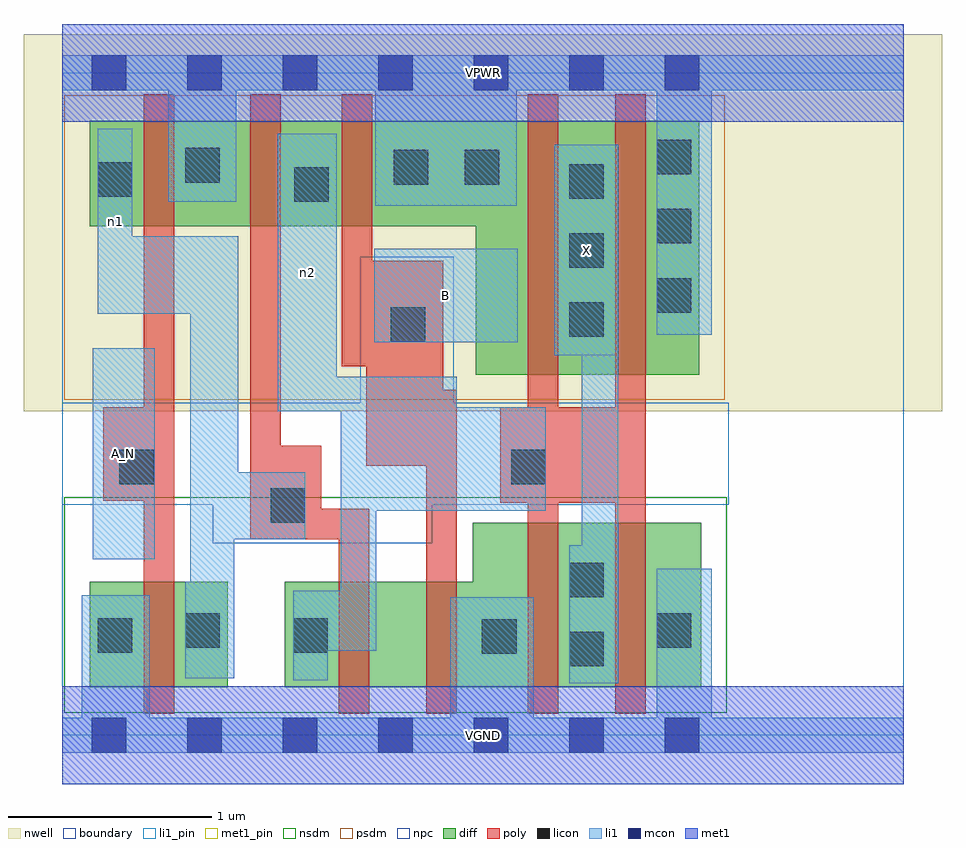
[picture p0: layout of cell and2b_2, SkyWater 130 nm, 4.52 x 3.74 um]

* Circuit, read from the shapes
.subckt and2b_2 A_N B VGND VPWR X n1 n2
XM1 n1 A_N VGND VSUBS sky130_fd_pr__nfet_01v8 w=0.52 l=0.15
XM2 n3 n1 n2 VSUBS sky130_fd_pr__nfet_01v8 w=0.52 l=0.15
XM3 VGND B n3 VSUBS sky130_fd_pr__nfet_01v8 w=0.52 l=0.15
XM4 X n2 VGND VSUBS sky130_fd_pr__nfet_01v8 w=0.81 l=0.15 m=2
XM5 VPWR A_N n1 n4 sky130_fd_pr__pfet_01v8 w=0.52 l=0.15
XM6 n2 n1 VPWR n4 sky130_fd_pr__pfet_01v8 w=0.52 l=0.15
XM7 VPWR B n2 n4 sky130_fd_pr__pfet_01v8 w=0.52 l=0.15
XM8 X n2 VPWR n4 sky130_fd_pr__pfet_01v8 w=1.25 l=0.15 m=2
.ends

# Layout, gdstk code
import gdstk
lib = gdstk.Library(unit=1e-6, precision=1e-09)
def R(c, l, rs):  # rectangles x0, y0, x1, y1
    for r in rs: c.add(gdstk.rectangle(r[:2], r[2:], *l))
def A(c, l, x, y, w, h, nx, ny, dx, dy):  # array of equal rectangles
    R(c, l, [(x+i*dx, y+j*dy, x+i*dx+w, y+j*dy+h) for i in range(nx) for j in range(ny)])
nwell = (64, 20)
diff = (65, 20)
poly = (66, 20)
licon = (66, 44)
li1_pin = (67, 16)
li1 = (67, 20)
mcon = (67, 44)
met1_pin = (68, 16)
met1 = (68, 20)
nsdm = (93, 44)
psdm = (94, 20)
npc = (95, 20)
boundary = (235, 4)

and2b_2 = lib.new_cell('and2b_2')
R(and2b_2, nwell, [(-0.19,1.595,4.33,3.45), (0,1.595,4.14,3.45)])
R(and2b_2, diff, [(0.135,0.235,0.815,0.755), (1.095,0.235,3.145,0.755), (2.02,0.235,3.145,1.045), (2.035,1.775,3.135,3.025), (0.135,2.505,3.135,3.025)])
R(and2b_2, poly, [(0.4,0.105,0.55,3.155), (1.36,0.105,1.51,1.115), (1.79,0.105,1.94,1.7), (2.29,0.105,2.44,3.155), (2.72,0.105,2.87,3.155), (0.925,0.965,1.275,1.425), (0.925,0.965,1.075,3.155), (0.925,0.965,1.51,1.115), (2.155,1.145,2.87,1.615), (0.2,1.155,0.55,1.615), (1.495,1.325,1.875,2.335), (1.375,1.815,1.525,3.155)])
A(and2b_2, licon, 2.495, 1.96, 0.17, 0.17, 1, 3, 0, 0.34)
A(and2b_2, licon, 2.925, 2.08, 0.17, 0.17, 1, 3, 0, 0.34)
R(and2b_2, licon, [(2.495,0.34,2.665,0.51), (2.065,0.4,2.235,0.57), (0.175,0.405,0.345,0.575), (1.135,0.405,1.305,0.575), (0.605,0.43,0.775,0.6), (2.925,0.43,3.095,0.6), (2.495,0.68,2.665,0.85), (1.025,1.045,1.195,1.215), (0.28,1.235,0.45,1.405), (2.21,1.235,2.38,1.405), (1.615,1.935,1.785,2.105), (1.14,2.625,1.31,2.795), (0.175,2.65,0.345,2.82), (1.63,2.71,1.8,2.88), (1.98,2.71,2.15,2.88), (0.605,2.72,0.775,2.89)])
R(and2b_2, li1_pin, [(0.15,0.865,0.455,1.905), (2.42,1.87,2.735,2.905), (1.535,1.935,2.24,2.395)])
R(and2b_2, li1, [(0,-0.085,4.14,0.085), (0.095,-0.085,0.43,0.69), (1.91,-0.085,2.32,0.68), (2.925,-0.085,3.195,0.82), (2.495,0.255,2.735,0.935), (2.555,0.255,2.735,2.905), (1.135,0.27,1.305,0.71), (0.605,0.28,0.845,0.755), (0.63,0.28,0.845,2.455), (1.135,0.415,1.545,0.71), (1.37,0.415,1.545,1.765), (0.15,0.865,0.455,1.905), (0.63,0.965,1.195,1.295), (0.63,0.965,0.865,2.455), (1.37,1.105,2.38,1.615), (1.06,1.595,1.35,2.96), (1.06,1.595,1.94,1.765), (2.42,1.87,2.735,2.905), (1.535,1.935,2.24,2.395), (2.925,1.97,3.195,3.345), (0.175,2.075,0.345,2.985), (0.175,2.075,0.865,2.455), (1.54,2.605,2.235,3.345), (0.52,2.625,0.855,3.345), (0,3.175,4.14,3.345)])
A(and2b_2, mcon, 0.145, -0.085, 0.17, 0.17, 7, 2, 0.47, 3.26)
R(and2b_2, met1_pin, [(0,-0.24,4.14,0.24), (0,3.02,4.14,3.5)])
R(and2b_2, met1, [(0,-0.24,4.14,0.24), (0,3.02,4.14,3.5)])
R(and2b_2, nsdm, [(0.01,0.11,3.27,1.17)])
R(and2b_2, psdm, [(0.01,1.65,3.26,3.15)])
R(and2b_2, npc, [(0.74,0.945,1.82,1.635), (0,1.135,3.28,1.635), (1.465,1.135,1.925,2.355)])
R(and2b_2, boundary, [(0,0,4.14,3.26)])
and2b_2.add(gdstk.Label('A_N', (0.302,1.385), layer=67, texttype=5))
and2b_2.add(gdstk.Label('B', (1.887,2.165), layer=67, texttype=5))
and2b_2.add(gdstk.Label('X', (2.577,2.387), layer=67, texttype=5))
and2b_2.add(gdstk.Label('n2', (1.205,2.277), layer=67, texttype=5))
and2b_2.add(gdstk.Label('n1', (0.26,2.53), layer=67, texttype=5))
and2b_2.add(gdstk.Label('VPWR', (2.07,3.26), layer=68, texttype=5))
and2b_2.add(gdstk.Label('VGND', (2.07,0), layer=68, texttype=5))
and2b_2.add(gdstk.Label('A_N', (0.302,1.385), layer=67, texttype=16))
and2b_2.add(gdstk.Label('B', (1.887,2.165), layer=67, texttype=16))
and2b_2.add(gdstk.Label('X', (2.577,2.387), layer=67, texttype=16))
and2b_2.add(gdstk.Label('VPWR', (2.07,3.26), layer=68, texttype=16))
and2b_2.add(gdstk.Label('VGND', (2.07,0), layer=68, texttype=16))

lib.write_gds('and2b_2.gds')
